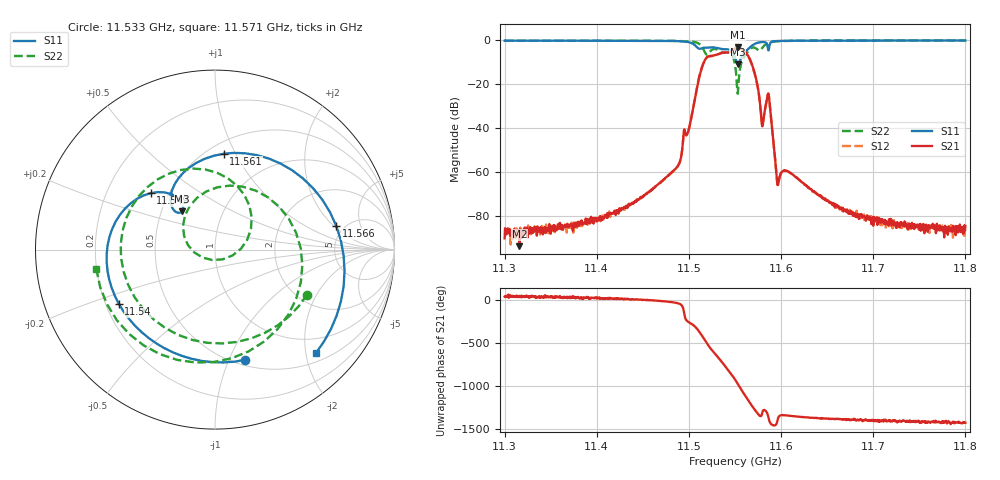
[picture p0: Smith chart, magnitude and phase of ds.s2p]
! Created with skrf (http://scikit-rf.org).
# Hz S RI R 50.0
!freq ReS11 ImS11 ReS21 ImS21 ReS12 ImS12 ReS22 ImS22
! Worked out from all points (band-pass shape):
!   1001 points, 11.3 GHz to 11.8 GHz, reference 50 ohm
!   highest |S21| = -3.34 dB at 11.553 GHz (marker M1); lowest = -93.8 dB at 11.316 GHz (marker M2)
!   |S21| within 3 dB of the highest: 11.53226 GHz to 11.56288 GHz (30.61 MHz wide, 0.265 % of centre)
!   lowest |S11| = -11.0 dB at 11.553 GHz (marker M3), VSWR 1.78, Z = 31.8 + j14.7 ohm
!   |S11| at or under -10 dB: 11.55164 GHz to 11.55478 GHz (3.138 MHz wide, 0.0272 % of centre)
!   |S22| runs from -24.5 to -0.2 dB; largest |S21 - S12| = 0.014
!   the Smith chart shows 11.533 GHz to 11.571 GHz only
!   S11 on the Smith chart (normalised r, x): 11.533 GHz: 0.56, -1.15; 11.54 GHz: 0.25, -0.25; 11.549 GHz: 0.40, +0.32; 11.561 GHz: 0.60, +0.90; 11.566 GHz: 4.30, +2.15; 11.571 GHz: 0.67, -2.19
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1.13e10  -0.7939 0.5463  2.24e-05 2.11e-05  2.69e-05 3.26e-05  -0.7747 0.5747
1.1316e10  -0.7641 0.5886  1.26e-05 1.61e-05  3.46e-05 2.87e-05  -0.7458 0.6129
1.13835e10  -0.5778 0.77  6.33e-05 4.72e-05  5.49e-05 3.75e-05  -0.5733 0.7754
1.1467e10  0.0681 0.956  0.000528 -4.92e-05  0.000523 -5.67e-05  -0.0458 0.9606
1.15075e10  0.2271 -0.6892  0.0438 0.0421  0.0427 0.0436  0.8442 0.2656
1.15125e10  -0.6325 0.0271  0.163 -0.0779  0.1693 -0.0815  0.7155 -0.2874
1.1519e10  0.181 0.6434  -0.2641 -0.2922  -0.269 -0.2795  -0.4029 -0.2403
1.1525e10  0.6592 0.1714  -0.3302 0.287  -0.3244 0.2787  0.068 0.5951
1.1533e10  0.1696 -0.6142  0.3827 0.3024  0.3806 0.3089  0.5138 -0.2504
1.15405e10  -0.5355 -0.3028  0.2211 -0.4652  0.2218 -0.4653  -0.4841 -0.1957
1.15485e10  -0.3584 0.3144  -0.6007 -0.021  -0.6061 -0.0216  0.1233 0.3554
1.155e10  -0.251 0.3116  -0.5898 0.2431  -0.5947 0.2474  0.2044 0.179
1.1553e10  -0.1835 0.2133  -0.1755 0.6575  -0.1699 0.6613  -0.014 -0.0582
1.1561e10  0.0475 0.5341  0.4629 -0.2727  0.4643 -0.2794  0.411 0.1722
1.15665e10  0.6759 0.1315  -0.1759 -0.3044  -0.1799 -0.293  -0.00732 -0.6262
1.1571e10  0.561 -0.5777  -0.1847 0.0281  -0.1776 0.0251  -0.6614 -0.1065
1.158e10  -0.4007 -0.8065  -0.00919 0.00668  -0.00955 0.00664  0.6299 -0.253
1.1587e10  -0.3852 -0.5424  0.0352 0.0329  0.0355 0.0328  -0.2228 -0.8361
1.15965e10  -0.8817 -0.3532  0.000281 0.000415  0.000276 0.000425  -0.7875 -0.5042
1.16335e10  -0.9183 0.3031  0.000118 0.000367  0.000117 0.000359  -0.9207 0.2938
1.1717e10  -0.6338 0.7377  7.07e-05 4.39e-05  4.69e-05 3.39e-05  -0.6203 0.7502
1.18e10  -0.3869 0.8958  5.7e-05 1.38e-05  4.41e-05 4.31e-06  -0.3738 0.9012
